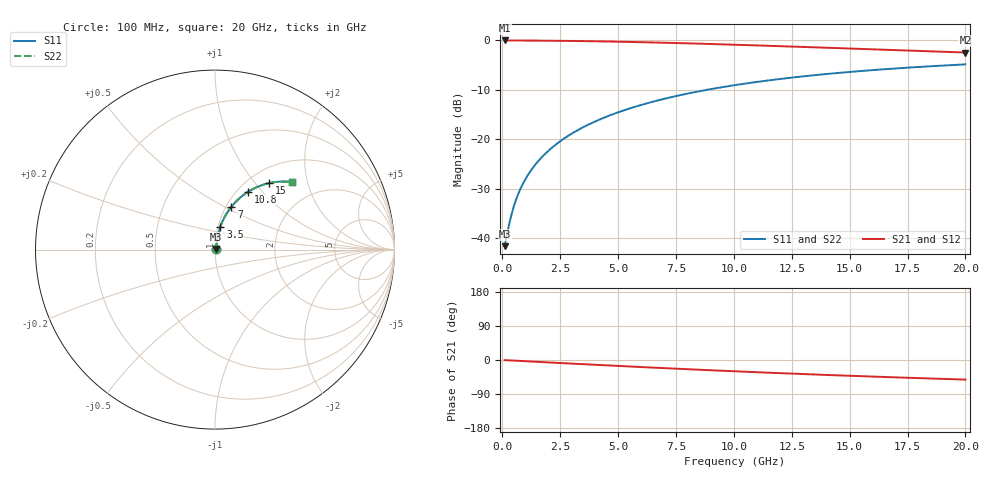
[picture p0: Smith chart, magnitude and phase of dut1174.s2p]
! Touchstone file exported from HFSS 2024.1.0
!  File:  C:/UserFiles/LocalFiles/RDL_TSV_Batchsim/temp_RDL_bottom_1174_1780056997.aedt
!  Generated:  08:19:00 PM May 29, 2026
!  Design:  RDL_bottom
!  Project:  temp_RDL_bottom_1174_1780056997
!  Setup:  Setup1
!  Solution:  Sweep
! Variables:
!  dtsv = 10.80580581um
!  hbump = 3um
!  htsv = 68.03um
!  ldown = 662.27um
!  lrdl = 100um
!  p = 40
!  p1 = 53.6um
!  rhole = 1um
!  t = 450um
!  tdown = 2.83um
!  trdl = 3.915915916um
!  wdown = 11.35um
!  wrdl = 20um
# GHz S MA R 50.000000
! Terminal data exported
! Port[1] = RDL1_T1
! Port[2] = RDL1_T2
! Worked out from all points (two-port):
!   200 points, 100 MHz to 20 GHz, reference 50 ohm
!   highest |S21| = -0.06 dB at 100 MHz (marker M1); lowest = -2.5 dB at 20 GHz (marker M2)
!   |S21| within 3 dB of the highest: start of sweep to end of sweep
!   lowest |S11| = -41.6 dB at 100 MHz (marker M3), VSWR 1.02, Z = 50.7 + j0.397 ohm
!   |S11| at or under -10 dB: start of sweep to 8.879 GHz
!   |S22| runs from -41.6 to -4.9 dB; largest |S21 - S12| = 2e-15
!   S11 on the Smith chart (normalised r, x): 100 MHz: 1.01, +0.01; 3.5 GHz: 1.03, +0.27; 7 GHz: 1.06, +0.54; 10.8 GHz: 1.12, +0.84; 15 GHz: 1.23, +1.18; 20 GHz: 1.44, +1.60
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0.1  0.008296 28.2  0.9927 -0.3  0.9927 -0.3  0.008296 28.2
! Gamma 0 0 0 0
! Port Impedance 50 0 50 0
0.3  0.01395 57.0  0.9925 -1.0  0.9925 -1.0  0.01395 57.0
0.4  0.01741 63.3  0.9923 -1.3  0.9923 -1.3  0.01741 63.3
0.6  0.02465 70.1  0.9919 -2.0  0.9919 -2.0  0.02465 70.1
0.7  0.02833 72.1  0.9916 -2.3  0.9916 -2.3  0.02833 72.1
0.9  0.03573 74.6  0.9911 -2.9  0.9911 -2.9  0.03573 74.6
1.2  0.04686 76.7  0.9902 -3.9  0.9902 -3.9  0.04686 76.6
1.7  0.06546 78.0  0.9883 -5.5  0.9883 -5.5  0.06546 78.0
2.2  0.08406 78.2  0.9861 -7.0  0.9861 -7.0  0.08406 78.2
2.8  0.1063 77.7  0.9827 -8.9  0.9827 -8.9  0.1063 77.7
3.5  0.1321 76.7  0.9779 -11.1  0.9779 -11.1  0.1321 76.7
4.2  0.1577 75.4  0.9721 -13.2  0.9721 -13.2  0.1577 75.4
5  0.1864 73.7  0.9646 -15.7  0.9646 -15.7  0.1864 73.7
6.8  0.2489 69.6  0.9442 -20.9  0.9442 -20.9  0.2489 69.6
7  0.2557 69.1  0.9416 -21.5  0.9416 -21.5  0.2556 69.1
8.5  0.3044 65.5  0.9216 -25.7  0.9216 -25.7  0.3044 65.5
10.1  0.3529 61.7  0.8983 -30.0  0.8983 -30.0  0.3529 61.7
10.8  0.3729 60.1  0.8878 -31.8  0.8878 -31.8  0.3729 60.1
13.4  0.4407 54.3  0.8476 -38.1  0.8476 -38.1  0.4406 54.2
15  0.4773 50.9  0.8228 -41.7  0.8228 -41.7  0.4772 50.9
16.7  0.5121 47.5  0.797 -45.3  0.797 -45.3  0.512 47.5
20  0.569 41.4  0.7496 -51.7  0.7496 -51.7  0.5689 41.4
